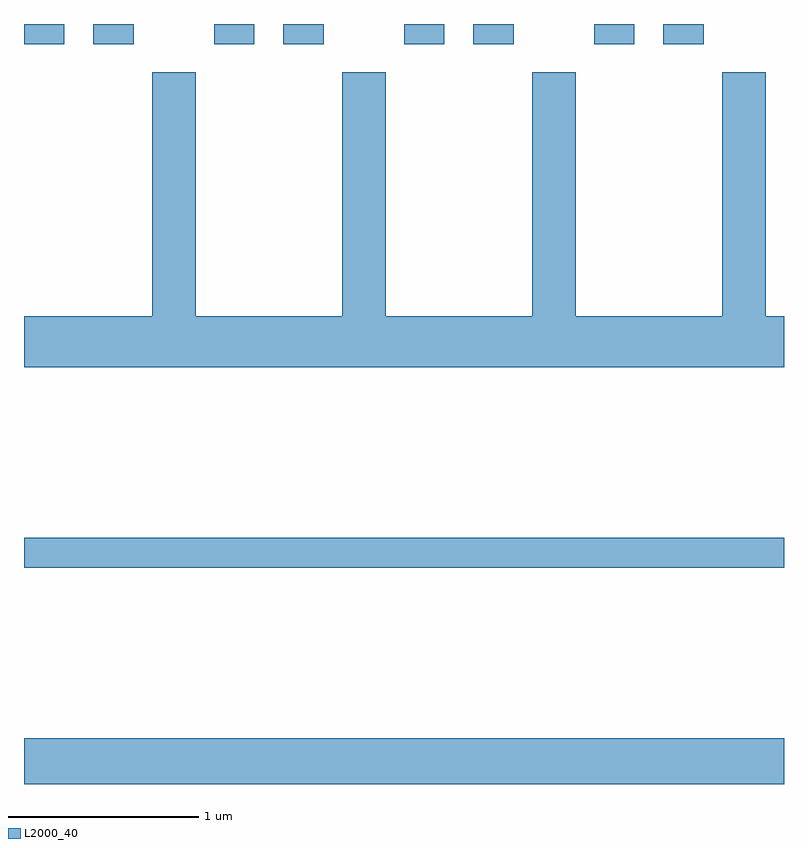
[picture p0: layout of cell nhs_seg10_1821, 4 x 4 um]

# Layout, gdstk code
import gdstk
lib = gdstk.Library(unit=1e-6, precision=1e-09)
def R(c, l, rs):  # rectangles x0, y0, x1, y1
    for r in rs: c.add(gdstk.rectangle(r[:2], r[2:], *l))
def P(c, l, *ps):  # polygons
    for p in ps: c.add(gdstk.Polygon(p, *l))
L2000_40 = (2000, 40)

nhs_seg10_1821 = lib.new_cell('nhs_seg10_1821')
R(nhs_seg10_1821, L2000_40, [(237.611,2200.522,241.611,2200.764), (237.611,2201.661,241.611,2201.819), (237.611,2204.416,237.824,2204.522), (237.976,2204.416,238.189,2204.522), (238.611,2204.416,238.824,2204.522), (238.976,2204.416,239.189,2204.522), (239.611,2204.416,239.824,2204.522), (239.976,2204.416,240.189,2204.522), (240.611,2204.416,240.824,2204.522), (240.976,2204.416,241.189,2204.522)])
P(nhs_seg10_1821, L2000_40, [(241.611,2202.984),(241.514,2202.984),(241.514,2204.269),(241.286,2204.269),(241.286,2202.984),(240.514,2202.984),(240.514,2204.269),(240.286,2204.269),(240.286,2202.984),(239.514,2202.984),(239.514,2204.269),(239.286,2204.269),(239.286,2202.984),(238.514,2202.984),(238.514,2204.269),(238.286,2204.269),(238.286,2202.984),(237.611,2202.984),(237.611,2202.716),(241.611,2202.716)])

lib.write_gds('nhs_seg10_1821.gds')
